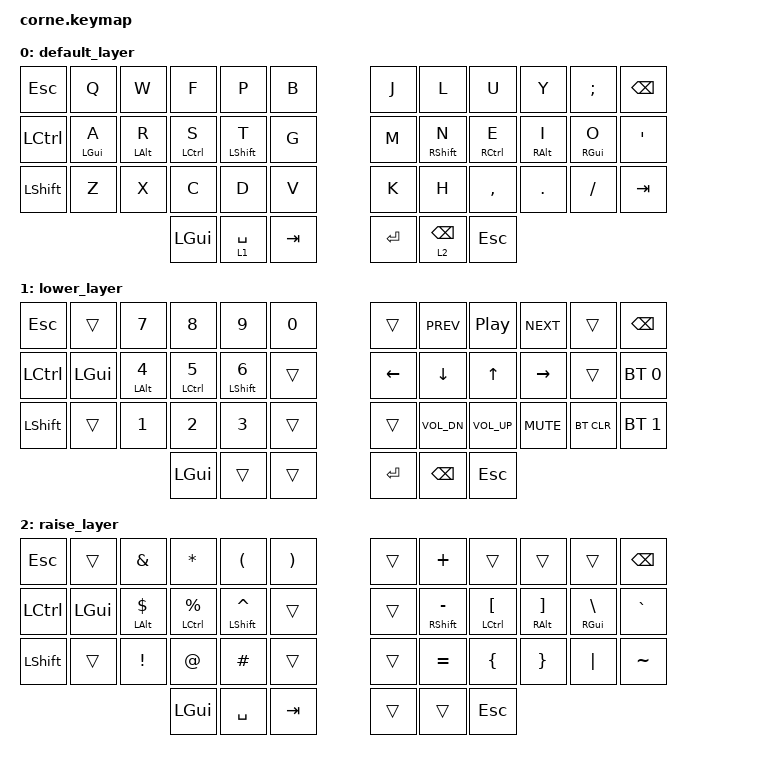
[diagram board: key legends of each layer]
/*
 * Copyright (c) 2020 The ZMK Contributors
 *
 * SPDX-License-Identifier: MIT
 */

#include <behaviors.dtsi>
#include <dt-bindings/zmk/bt.h>
#include <dt-bindings/zmk/keys.h>

/ {
    behaviors {
        hml: home_row_mod_left {
            compatible = "zmk,behavior-hold-tap";
            #binding-cells = <2>;
            flavor = "balanced";
            require-prior-idle-ms = <125>;
            tapping-term-ms = <280>;
            quick-tap-ms = <175>;
            bindings = <&kp>, <&kp>;

            hold-trigger-key-positions = < 6 7 8 9 10 18 19 20 21 22 23 30 31 32 33 34 35 39 40 41 >;
            hold-trigger-on-release;
        };

        hmr: home_row_mod_right {
            compatible = "zmk,behavior-hold-tap";
            #binding-cells = <2>;
            flavor = "balanced";
            require-prior-idle-ms = <125>;
            tapping-term-ms = <280>;
            quick-tap-ms = <175>;
            bindings = <&kp>, <&kp>;

            hold-trigger-key-positions = < 1 2 3 4 5 13 14 15 16 17 25 26 27 28 29 36 37 38 >;
            hold-trigger-on-release;
        };
    };
};

/ {
    keymap {
        compatible = "zmk,keymap";

        default_layer {
            // ----------------------------------------------------------------------------------------------------
            // |  ESC |   Q   |   W   |   F   |    P    |  B  |   |  J  |     L    |   U   |   Y   |   ;   | BSPC |
            // | CTRL | gui/A | alt/R | ctr/S |  shf/T  |  G  |   |  M  |   shf/N  | ctr/E | alt/I | gui/O |  '   |
            // | SHFT |   Z   |   X   |   C   |    D    |  V  |   |  K  |     H    |   ,   |   .   |   /   | TAB  |
            //                        |  GUI  | LWR/SPC | TAB |   | RET | RSE/BSPC |  ESC  |

            bindings = <
&kp ESC    &kp Q         &kp W        &kp F        &kp P          &kp B      &kp J    &kp L            &kp U         &kp Y        &kp SEMI         &kp BSPC
&kp LCTRL  &hml LGUI A   &hml LALT R  &hml LCTRL S &hml LSHIFT T  &kp G      &kp M    &hmr RSHIFT N    &hmr RCTRL E  &hmr RALT I  &hmr RGUI O      &kp SQT
&kp LSHFT  &kp Z         &kp X        &kp C        &kp D          &kp V      &kp K    &kp H            &kp COMMA     &kp DOT      &kp FSLH         &kp TAB
                                      &kp LGUI     &lt 1 SPC      &kp TAB    &kp RET  &lt 2 BSPC       &kp ESC
            >;
        };

        lower_layer {
            // --------------------------------------------------------------------------------------------------
            // |  ESC |     |   7   |   8   |   9   |  0  |   |     |   PRV   |   PLY  |   NXT   |       | BSPC |
            // | CTRL |     |   4   |   5   |   6   |     |   | LFT |   DWN   |   UP   |   RGT   |       | BT1  |
            // | SHFT |     |   1   |   2   |   3   |     |   |     |  volDN  |  volUP |   MUTE  | BTCLR | BT2  |
            //                      |  GUI  |       |     |   | RET |  BSPC   |   ESC  |

            bindings = <
&kp ESC    &trans     &kp N7        &kp N8        &kp N9          &kp N0    &trans    &kp C_PREV        &kp C_PP      &kp C_NEXT       &trans      &kp BSPC
&kp LCTRL  &kp LGUI   &hml LALT N4  &hml LCTRL N5 &hml LSHIFT N6  &trans    &kp LEFT  &kp DOWN 		&kp UP        &kp RIGHT        &trans      &bt BT_SEL 0
&kp LSHFT  &trans     &kp N1        &kp N2        &kp N3          &trans    &trans    &kp C_VOL_DN      &kp C_VOL_UP  &kp C_MUTE       &bt BT_CLR  &bt BT_SEL 1
                                    &kp LGUI      &trans          &trans    &kp RET   &kp BSPC          &kp ESC
            >;
        };

        raise_layer {
            // -----------------------------------------------------------------------------------------------
            // |  ESC |     |   &   |   *   |   (   |  )  |   |     |   +   |       |       |    _    | BSPC |
            // | CTRL |     |   $   |   %   |   ^   |     |   |     |   -   |   [   |   ]   |    \    |  `   |
            // | SHFT |     |   !   |   @   |   #   |     |   |     |   =   |   {   |   }   |   "|"   |  ~   |
            //                      |  GUI  |  SPC  | TAB |   |     |       |  ESC  |

            bindings = <
&kp ESC    &trans     &kp AMPS        &kp ASTRK        &kp LPAR           &kp RPAR    &trans     &kp PLUS           &trans          &trans          &trans           &kp BSPC
&kp LCTRL  &kp LGUI   &hml LALT DLLR  &hml LCTRL PRCNT &hml LSHIFT CARET  &trans      &trans     &hmr RSHIFT MINUS  &hmr LCTRL LBKT &hmr RALT RBKT  &hmr RGUI BSLH   &kp GRAVE
&kp LSHFT  &trans     &kp EXCL        &kp AT           &kp HASH           &trans      &trans     &kp EQUAL          &kp LBRC        &kp RBRC        &kp PIPE         &kp TILDE
                                      &kp LGUI         &kp SPC            &kp TAB     &trans     &trans             &kp ESC
            >;
        };
    };
};
